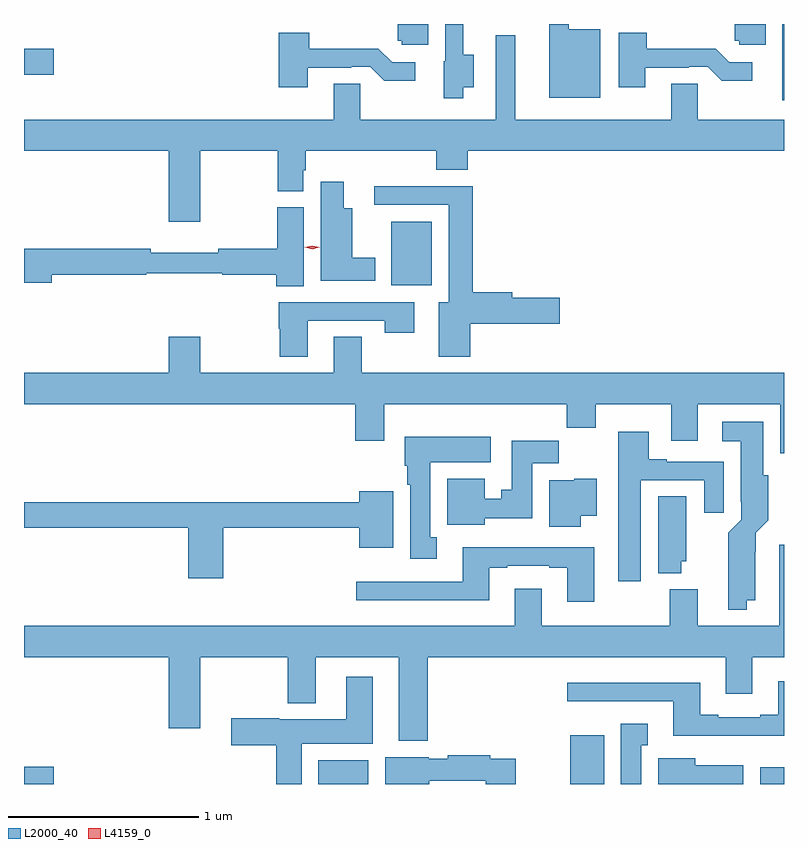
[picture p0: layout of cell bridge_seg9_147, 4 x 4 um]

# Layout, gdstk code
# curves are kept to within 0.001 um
import gdstk
lib = gdstk.Library(unit=1e-6, precision=1e-09)
def R(c, l, rs):  # rectangles x0, y0, x1, y1
    for r in rs: c.add(gdstk.rectangle(r[:2], r[2:], *l))
def P(c, l, *ps):  # polygons
    for p in ps: c.add(gdstk.Polygon(p, *l))
L2000_40 = (2000, 40)
L4159_0 = (4159, 0)

bridge_seg9_147 = lib.new_cell('bridge_seg9_147')
R(bridge_seg9_147, L2000_40, [(607.801,1182.432,607.957,1182.524), (609.35,1182.432,609.613,1182.556), (610.676,1182.432,610.855,1182.688), (611.675,1182.432,611.801,1182.52), (609.734,1185.056,609.946,1185.391), (607.801,1186.166,607.957,1186.301)])
P(bridge_seg9_147, L2000_40, [(610.114,1186.1),(610.168,1186.1),(610.168,1186.271),(610.113,1186.271),(610.113,1186.432),(610.017,1186.432),(610.017,1186.236),(610.01,1186.236),(610.01,1186.04),(610.114,1186.04)],
  [(609.928,1186.432),(609.767,1186.432),(609.767,1186.344),(609.789,1186.344),(609.789,1186.323),(609.928,1186.323)],
  [(611.704,1186.432),(611.543,1186.432),(611.543,1186.344),(611.565,1186.344),(611.565,1186.323),(611.704,1186.323)],
  [(610.834,1186.405),(610.669,1186.405),(610.669,1186.432),(610.565,1186.432),(610.565,1186.043),(610.834,1186.043)],
  [(611.801,1186.432),(611.793,1186.432),(611.793,1186.254),(611.792,1186.254),(611.792,1186.032),(611.801,1186.032)],
  [(609.295,1186.203),(609.524,1186.203),(609.524,1186.206),(609.624,1186.206),(609.697,1186.133),(609.859,1186.133),(609.859,1186.23),(609.738,1186.23),(609.665,1186.303),(609.303,1186.303),(609.303,1186.387),(609.143,1186.387),(609.143,1186.098),(609.295,1186.098)],
  [(611.071,1186.203),(611.3,1186.203),(611.3,1186.206),(611.4,1186.206),(611.473,1186.133),(611.635,1186.133),(611.635,1186.23),(611.514,1186.23),(611.441,1186.303),(611.079,1186.303),(611.079,1186.387),(610.931,1186.387),(610.931,1186.098),(611.071,1186.098)],
  [(608.728,1185.764),(609.136,1185.764),(609.136,1185.553),(609.271,1185.553),(609.271,1185.663),(609.284,1185.663),(609.284,1185.764),(609.971,1185.764),(609.971,1185.665),(610.136,1185.665),(610.136,1185.764),(611.801,1185.764),(611.801,1185.928),(611.346,1185.928),(611.346,1186.118),(611.207,1186.118),(611.207,1185.928),(610.387,1185.928),(610.387,1186.372),(610.283,1186.372),(610.283,1185.928),(609.57,1185.928),(609.57,1186.118),(609.431,1186.118),(609.431,1185.928),(607.801,1185.928),(607.801,1185.764),(608.564,1185.764),(608.564,1185.39),(608.728,1185.39)],
  [(609.649,1185.202),(609.529,1185.202),(609.529,1185.463),(609.484,1185.463),(609.484,1185.601),(609.362,1185.601),(609.362,1185.08),(609.649,1185.08)],
  [(610.15,1184.855),(610.621,1184.855),(610.621,1184.99),(610.372,1184.99),(610.372,1185.019),(610.163,1185.019),(610.163,1185.578),(609.645,1185.578),(609.645,1185.48),(610.037,1185.48),(610.037,1184.968),(609.983,1184.968),(609.983,1184.682),(610.15,1184.682)],
  [(609.274,1185.468),(609.133,1185.468),(609.133,1185.248),(608.824,1185.248),(608.824,1185.229),(608.468,1185.229),(608.468,1185.248),(607.801,1185.248),(607.801,1185.07),(607.948,1185.07),(607.948,1185.112),(608.444,1185.112),(608.444,1185.12),(608.844,1185.12),(608.844,1185.112),(609.128,1185.112),(609.128,1185.052),(609.274,1185.052)],
  [(609.295,1184.871),(609.7,1184.871),(609.7,1184.808),(609.856,1184.808),(609.856,1184.967),(609.143,1184.967),(609.143,1184.829),(609.148,1184.829),(609.148,1184.682),(609.295,1184.682)],
  [(611.801,1184.596),(609.579,1184.596),(609.579,1184.786),(609.431,1184.786),(609.431,1184.596),(608.728,1184.596),(608.728,1184.785),(608.564,1184.785),(608.564,1184.596),(607.801,1184.596),(607.801,1184.432),(609.545,1184.432),(609.545,1184.238),(609.697,1184.238),(609.697,1184.432),(610.657,1184.432),(610.657,1184.308),(610.809,1184.308),(610.809,1184.432),(611.207,1184.432),(611.207,1184.238),(611.347,1184.238),(611.347,1184.432),(611.781,1184.432),(611.781,1184.172),(611.801,1184.172)],
  [(611.605,1183.4),(611.65,1183.4),(611.651,1183.754),(611.718,1183.821),(611.718,1184.058),(611.692,1184.058),(611.692,1184.338),(611.475,1184.338),(611.475,1184.237),(611.573,1184.237),(611.573,1183.918),(611.577,1183.918),(611.577,1183.824),(611.507,1183.754),(611.508,1183.349),(611.605,1183.349)],
  [(611.047,1184.031),(611.381,1184.031),(611.381,1183.86),(611.485,1183.86),(611.485,1184.127),(611.185,1184.127),(611.185,1184.14),(611.089,1184.14),(611.089,1184.287),(610.928,1184.287),(610.928,1183.5),(611.047,1183.5)],
  [(609.973,1183.73),(609.94,1183.73),(609.94,1184.126),(610.258,1184.126),(610.258,1184.26),(609.806,1184.26),(609.806,1184.106),(609.818,1184.106),(609.818,1184.006),(609.833,1184.006),(609.833,1183.617),(609.973,1183.617)],
  [(610.225,1183.832),(610.477,1183.832),(610.477,1184.12),(610.616,1184.12),(610.616,1184.239),(610.367,1184.239),(610.367,1183.98),(610.313,1183.98),(610.313,1183.934),(610.225,1183.934),(610.225,1184.038),(610.028,1184.038),(610.028,1183.796),(610.225,1183.796)],
  [(610.732,1183.844),(610.816,1183.844),(610.816,1184.038),(610.698,1184.038),(610.698,1184.032),(610.565,1184.032),(610.565,1183.787),(610.732,1183.787)],
  [(608.849,1183.78),(609.566,1183.78),(609.566,1183.676),(609.745,1183.676),(609.745,1183.972),(609.566,1183.972),(609.566,1183.916),(607.801,1183.916),(607.801,1183.78),(608.666,1183.78),(608.666,1183.515),(608.849,1183.515)],
  [(611.26,1183.605),(611.287,1183.605),(611.287,1183.946),(611.138,1183.946),(611.138,1183.541),(611.26,1183.541)],
  [(609.926,1183.1),(611.495,1183.1),(611.495,1182.906),(611.635,1182.906),(611.635,1183.1),(611.801,1183.1),(611.801,1183.69),(611.777,1183.69),(611.777,1183.264),(611.347,1183.264),(611.347,1183.456),(611.2,1183.456),(611.2,1183.264),(610.525,1183.264),(610.525,1183.459),(610.385,1183.459),(610.385,1183.264),(607.801,1183.264),(607.801,1183.1),(608.564,1183.1),(608.564,1182.726),(608.728,1182.726),(608.728,1183.1),(609.19,1183.1),(609.19,1182.857),(609.337,1182.857),(609.337,1183.1),(609.773,1183.1),(609.773,1182.659),(609.926,1182.659)],
  [(610.801,1183.677),(610.473,1183.677),(610.473,1183.678),(610.109,1183.678),(610.109,1183.497),(609.549,1183.497),(609.549,1183.4),(610.249,1183.4),(610.249,1183.569),(610.345,1183.569),(610.345,1183.581),(610.565,1183.581),(610.565,1183.569),(610.661,1183.569),(610.661,1183.392),(610.801,1183.392)],
  [(609.262,1182.644),(609.637,1182.644),(609.637,1182.997),(609.497,1182.997),(609.497,1182.772),(609.144,1182.772),(609.144,1182.777),(608.892,1182.777),(608.892,1182.635),(609.128,1182.635),(609.128,1182.432),(609.262,1182.432)],
  [(611.801,1182.973),(611.771,1182.973),(611.771,1182.796),(611.675,1182.796),(611.675,1182.783),(611.455,1182.783),(611.455,1182.796),(611.359,1182.796),(611.359,1182.964),(610.659,1182.964),(610.659,1182.867),(611.219,1182.867),(611.219,1182.686),(611.801,1182.686)],
  [(611.05,1182.635),(611.083,1182.635),(611.083,1182.748),(610.943,1182.748),(610.943,1182.432),(611.05,1182.432)],
  [(609.934,1182.448),(610.232,1182.448),(610.232,1182.432),(610.39,1182.432),(610.39,1182.564),(610.256,1182.564),(610.256,1182.584),(610.03,1182.584),(610.03,1182.564),(609.93,1182.564),(609.93,1182.574),(609.701,1182.574),(609.701,1182.432),(609.934,1182.432)],
  [(611.587,1182.532),(611.335,1182.532),(611.335,1182.568),(611.138,1182.568),(611.138,1182.432),(611.587,1182.432)])
P(bridge_seg9_147, L4159_0, [(609.318,1185.246),(609.279,1185.256),(609.279,1185.256),(609.279,1185.256),(609.318,1185.266),(609.358,1185.256),(609.358,1185.256),(609.358,1185.256)])

lib.write_gds('bridge_seg9_147.gds')
